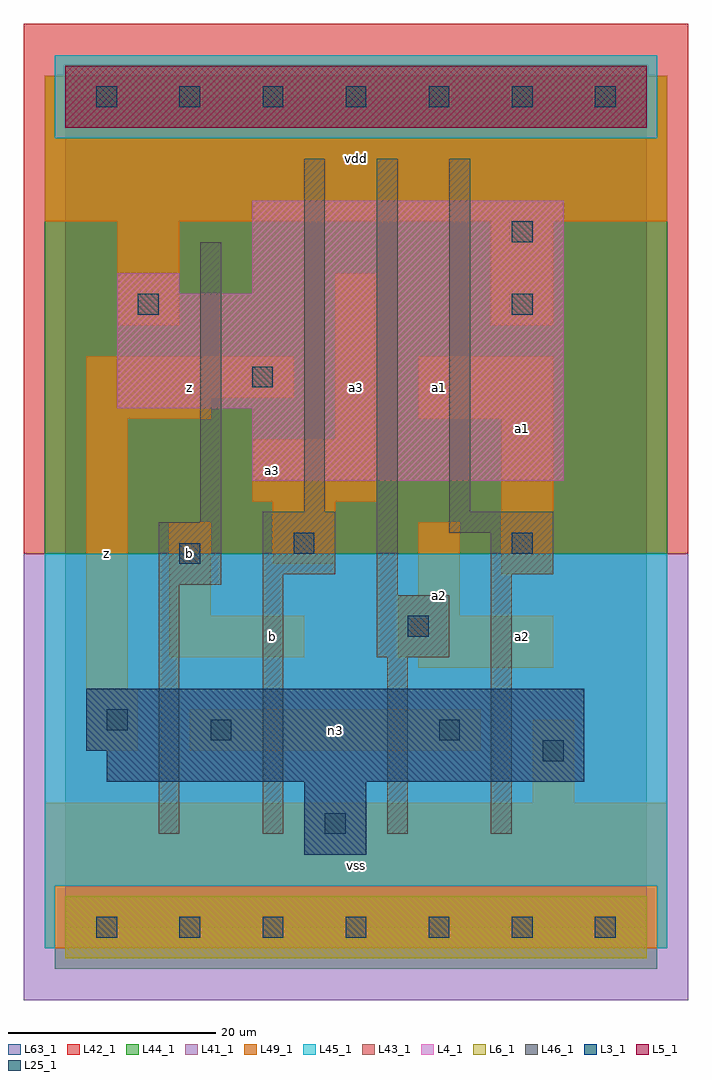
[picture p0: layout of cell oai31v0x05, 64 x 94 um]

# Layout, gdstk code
import gdstk
lib = gdstk.Library(unit=1e-6, precision=1e-09)
def R(c, l, rs):  # rectangles x0, y0, x1, y1
    for r in rs: c.add(gdstk.rectangle(r[:2], r[2:], *l))
def A(c, l, x, y, w, h, nx, ny, dx, dy):  # array of equal rectangles
    R(c, l, [(x+i*dx, y+j*dy, x+i*dx+w, y+j*dy+h) for i in range(nx) for j in range(ny)])
L3_1 = (3, 1)
L4_1 = (4, 1)
L5_1 = (5, 1)
L6_1 = (6, 1)
L25_1 = (25, 1)
L41_1 = (41, 1)
L42_1 = (42, 1)
L43_1 = (43, 1)
L44_1 = (44, 1)
L45_1 = (45, 1)
L46_1 = (46, 1)
L49_1 = (49, 1)
L63_1 = (63, 1)

oai31v0x05 = lib.new_cell('oai31v0x05')
R(oai31v0x05, L3_1, [(23,7,29,14), (4,14,50,17), (2,17,50,23)])
R(oai31v0x05, L4_1, [(18,43,48,50), (5,50,48,61), (5,61,11,63), (18,61,48,70)])
R(oai31v0x05, L5_1, [(0,77,56,83)])
R(oai31v0x05, L6_1, [(0,-3,56,3), (0,-3,56,3)])
A(oai31v0x05, L25_1, 3, -1, 2, 2, 7, 2, 8, 80)
R(oai31v0x05, L25_1, [(25,9,27,11), (46,16,48,18), (14,18,16,20), (36,18,38,20), (4,19,6,21), (33,28,35,30), (11,35,13,37), (22,36,24,38), (43,36,45,38), (18,52,20,54), (7,59,9,61), (43,59,45,61), (43,66,45,68)])
R(oai31v0x05, L41_1, [(-4,-7,60,36)])
R(oai31v0x05, L42_1, [(-4,36,60,87)])
R(oai31v0x05, L43_1, [(0,-3,56,3), (23,7,29,14), (4,14,50,17), (2,17,50,23), (18,43,48,50), (5,50,48,61), (5,61,11,63), (18,61,48,70), (0,77,56,83)])
R(oai31v0x05, L44_1, [(-1,-4,57,4), (-2,36,58,76), (-2,76,-1,82), (57,76,58,82)])
R(oai31v0x05, L45_1, [(-2,-2,-1,4), (57,-2,58,4), (-2,4,58,36), (-1,76,57,84)])
R(oai31v0x05, L46_1, [(9,9,11,33), (19,9,21,34), (31,9,33,26), (41,9,43,34), (30,26,37,32), (30,32,32,74), (9,33,15,39), (19,34,26,40), (41,34,47,38), (37,38,47,40), (13,39,15,66), (23,40,25,74), (37,40,39,74)])
R(oai31v0x05, L49_1, [(-2,-2,58,12), (45,12,49,20), (2,17,7,23), (12,17,40,21), (2,23,6,49), (34,25,47,26), (10,26,23,30), (32,26,47,30), (10,30,14,39), (32,30,38,32), (34,32,38,39), (42,34,47,49), (20,35,26,41), (18,41,30,47), (26,47,30,63), (2,49,14,51), (34,49,47,55), (2,51,22,55), (5,58,11,68), (41,58,47,68), (-2,68,58,82)])
R(oai31v0x05, L63_1, [(0,0,56,80)])
oai31v0x05.add(gdstk.Label('z', (4,36), layer=49, texttype=1))
oai31v0x05.add(gdstk.Label('b', (12,36), layer=49, texttype=1))
oai31v0x05.add(gdstk.Label('b', (20,28), layer=49, texttype=1))
oai31v0x05.add(gdstk.Label('a3', (20,44), layer=49, texttype=1))
oai31v0x05.add(gdstk.Label('z', (12,52), layer=49, texttype=1))
oai31v0x05.add(gdstk.Label('vss', (28,6), layer=49, texttype=1))
oai31v0x05.add(gdstk.Label('n3', (26,19), layer=49, texttype=1))
oai31v0x05.add(gdstk.Label('a2', (36,32), layer=49, texttype=1))
oai31v0x05.add(gdstk.Label('a3', (28,52), layer=49, texttype=1))
oai31v0x05.add(gdstk.Label('a1', (36,52), layer=49, texttype=1))
oai31v0x05.add(gdstk.Label('vdd', (28,74), layer=49, texttype=1))
oai31v0x05.add(gdstk.Label('a2', (44,28), layer=49, texttype=1))
oai31v0x05.add(gdstk.Label('a1', (44,48), layer=49, texttype=1))

lib.write_gds('oai31v0x05.gds')
